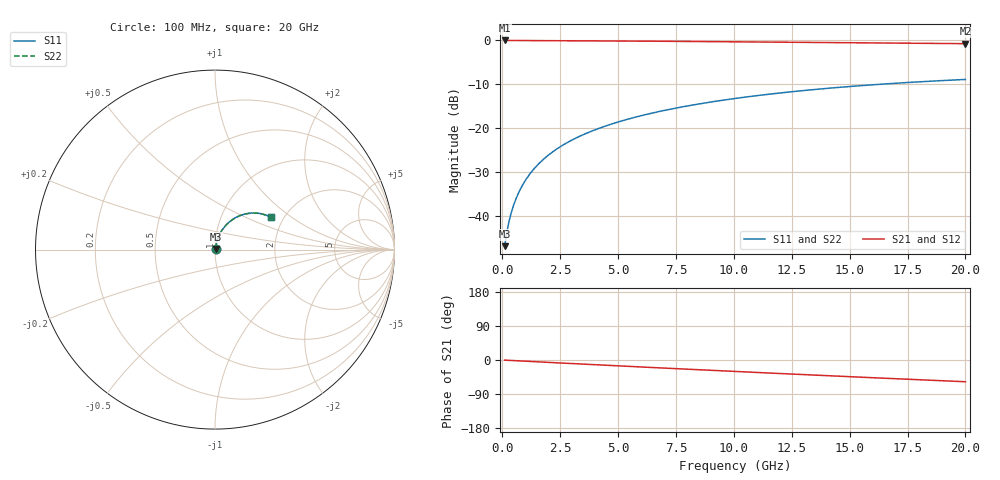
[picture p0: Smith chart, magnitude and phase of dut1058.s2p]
! Touchstone file exported from HFSS 2026.1.0
!  File:  C:/ffzhzh/LocalFiles/Ansys_Project_Files/temp_train_TMRDL_1058_1783160523_43440.aedt
!  Generated:  06:23:28 PM Jul  4, 2026
!  Design:  TMRDL
!  Project:  temp_train_TMRDL_1058_1783160523_43440
! Variables:
!  h_bsmrdl = 2um
!  h_ox = 20um
!  h_rdl = 5um
!  h_sub = 80um
!  h_tmrdl = 5.74um
!  h_tsv = 80um
!  h_via = 3um
!  l_bsmrdl = 300um
!  l_sub = 1373.31um
!  l_tmrdl = 973.31um
!  m_sub = 200um
!  pitch = 33.94um
!  r_tsv = 6um
!  s_tmrdl = 10um
!  w_bsmrdl = 18um
!  w_sub = 500um
!  w_tmrdl = 17.44um
!  x_tsv_center1 = 982.03um
!  x_tsv_center2 = 1300.03um
!  x_tsv_center3 = 2290.78um
!  x_tsv_center4 = 2608.78um
!  x_tsv_center5 = 3599.53um
!  x_tsv_center6 = 3917.53um
# GHz S MA R 50.000000
! Terminal data exported
! Port[1] = TM_RDL1_1_T1
! Port[2] = TM_RDL1_1_T2
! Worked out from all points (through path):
!   200 points, 100 MHz to 20 GHz, reference 50 ohm
!   highest |S21| = -0.03 dB at 100 MHz (marker M1); lowest = -0.8 dB at 20 GHz (marker M2)
!   group delay of S21, straight-line fit = 7.95 ps
!   lowest |S11| = -46.8 dB at 100 MHz (marker M3), VSWR 1.01, Z = 50.4 + j0.283 ohm
!   |S11| at or under -10 dB: start of sweep to 16.29 GHz
!   |S22| runs from -46.8 to -8.9 dB; largest |S21 - S12| = 2.2e-14
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0.1  0.004573 37.9  0.9964 -0.3  0.9964 -0.3  0.004573 37.9
! Gamma 0 0 0 0
! Port Impedance 50 0 50 0
0.2  0.006693 54.4  0.9961 -0.7  0.9961 -0.7  0.006693 54.4
0.3  0.008969 62.2  0.9959 -1.0  0.9959 -1.0  0.008969 62.2
0.4  0.01128 66.8  0.9957 -1.3  0.9957 -1.3  0.01128 66.8
0.5  0.01363 69.8  0.9956 -1.6  0.9956 -1.6  0.01363 69.8
0.6  0.016 72.0  0.9955 -1.9  0.9955 -1.9  0.016 72.0
0.8  0.02079 74.6  0.9952 -2.5  0.9952 -2.5  0.02079 74.6
1.1  0.02806 76.5  0.9948 -3.5  0.9948 -3.5  0.02806 76.5
1.3  0.03292 77.0  0.9944 -4.1  0.9944 -4.1  0.03292 77.0
1.6  0.04018 77.2  0.9938 -5.1  0.9938 -5.1  0.04018 77.2
2.1  0.05218 76.8  0.9926 -6.6  0.9926 -6.6  0.05218 76.8
2.7  0.06633 75.6  0.991 -8.5  0.991 -8.5  0.06633 75.6
3.5  0.08474 73.7  0.9885 -10.9  0.9885 -10.9  0.08474 73.7
4.2  0.1004 71.9  0.9861 -13.0  0.9861 -13.0  0.1004 71.9
5  0.1179 69.8  0.9831 -15.4  0.9831 -15.4  0.1179 69.7
5.9  0.137 67.4  0.9797 -18.1  0.9797 -18.1  0.137 67.3
6.8  0.1556 64.9  0.9761 -20.8  0.9761 -20.8  0.1556 64.9
8.3  0.1854 60.9  0.9698 -25.2  0.9698 -25.2  0.1855 60.9
10.1  0.2192 56.1  0.9617 -30.3  0.9617 -30.3  0.2192 56.0
13.4  0.2748 47.3  0.9461 -39.6  0.9461 -39.6  0.2748 47.2
16.7  0.3215 38.6  0.9305 -48.6  0.9305 -48.6  0.3216 38.5
20  0.3592 30.2  0.9163 -57.4  0.9163 -57.4  0.3592 30.1
